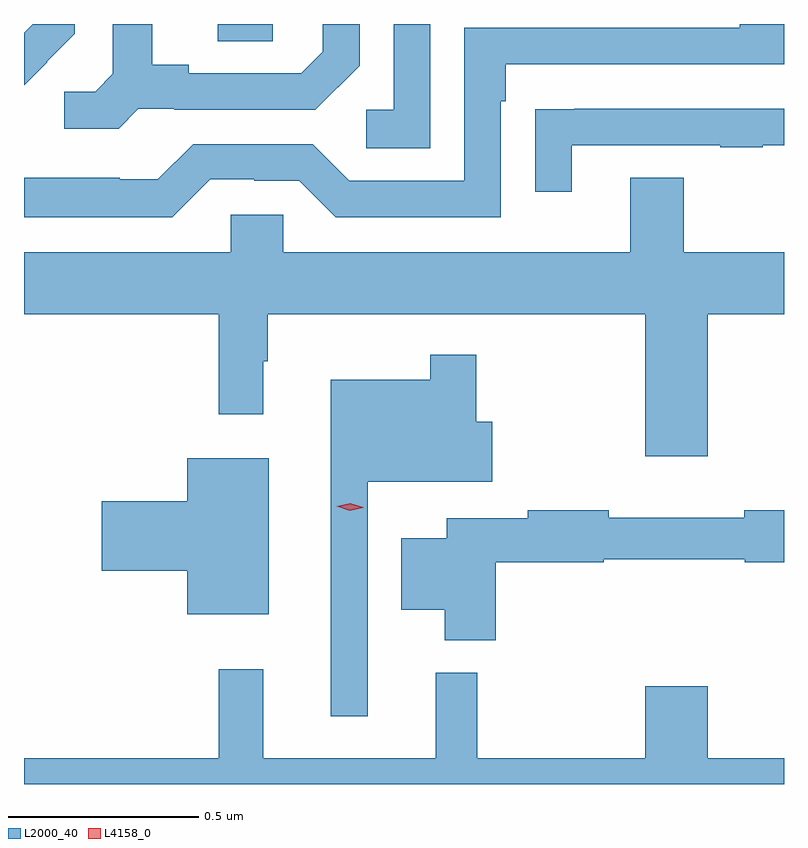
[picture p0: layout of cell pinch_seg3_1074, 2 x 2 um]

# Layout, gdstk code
import gdstk
lib = gdstk.Library(unit=1e-6, precision=1e-09)
def R(c, l, rs):  # rectangles x0, y0, x1, y1
    for r in rs: c.add(gdstk.rectangle(r[:2], r[2:], *l))
def P(c, l, *ps):  # polygons
    for p in ps: c.add(gdstk.Polygon(p, *l))
L2000_40 = (2000, 40)
L4158_0 = (4158, 0)

pinch_seg3_1074 = lib.new_cell('pinch_seg3_1074')
R(pinch_seg3_1074, L2000_40, [(343.703,717.619,343.848,717.664)])
P(pinch_seg3_1074, L2000_40, [(344.262,717.664),(344.166,717.664),(344.166,717.438),(344.094,717.438),(344.094,717.337),(344.262,717.337)],
  [(343.494,717.441),(343.588,717.441),(343.588,717.438),(343.96,717.438),(344.076,717.554),(344.076,717.664),(343.979,717.664),(343.979,717.591),(343.922,717.534),(343.627,717.534),(343.627,717.557),(343.531,717.557),(343.531,717.664),(343.427,717.664),(343.427,717.533),(343.38,717.486),(343.299,717.486),(343.299,717.389),(343.442,717.389)],
  [(343.254,717.564),(343.253,717.565),(343.326,717.638),(343.326,717.664),(343.216,717.664),(343.193,717.641),(343.193,717.503)],
  [(343.683,717.255),(343.799,717.255),(343.799,717.252),(343.917,717.252),(344.013,717.156),(344.448,717.156),(344.448,717.461),(344.461,717.461),(344.461,717.558),(345.193,717.558),(345.193,717.664),(345.077,717.664),(345.077,717.654),(344.352,717.654),(344.352,717.252),(344.049,717.252),(343.953,717.348),(343.638,717.348),(343.545,717.255),(343.445,717.255),(343.445,717.259),(343.193,717.259),(343.193,717.155),(343.583,717.155)],
  [(344.635,717.345),(345.025,717.345),(345.025,717.34),(345.137,717.34),(345.137,717.345),(345.193,717.345),(345.193,717.441),(344.641,717.441),(344.641,717.44),(344.539,717.44),(344.539,717.222),(344.635,717.222)],
  [(343.737,717.064),(343.193,717.064),(343.193,716.9),(343.705,716.9),(343.705,716.637),(343.822,716.637),(343.822,716.777),(343.834,716.777),(343.834,716.9),(344.828,716.9),(344.828,716.526),(344.992,716.526),(344.992,716.9),(345.193,716.9),(345.193,717.064),(344.929,717.064),(344.929,717.259),(344.789,717.259),(344.789,717.064),(343.875,717.064),(343.875,717.162),(343.737,717.162)],
  [(344.097,716.459),(344.425,716.459),(344.425,716.617),(344.383,716.617),(344.383,716.794),(344.262,716.794),(344.262,716.728),(344,716.728),(344,715.842),(344.097,715.842)],
  [(343.837,716.521),(343.622,716.521),(343.622,716.408),(343.398,716.408),(343.398,716.225),(343.622,716.225),(343.622,716.111),(343.837,716.111)],
  [(344.435,716.248),(344.718,716.248),(344.718,716.256),(345.09,716.256),(345.09,716.248),(345.193,716.248),(345.193,716.384),(345.088,716.384),(345.088,716.365),(344.732,716.365),(344.732,716.384),(344.518,716.384),(344.518,716.364),(344.306,716.364),(344.306,716.311),(344.186,716.311),(344.186,716.123),(344.3,716.123),(344.3,716.042),(344.435,716.042)],
  [(345.193,715.732),(344.992,715.732),(344.992,715.921),(344.828,715.921),(344.828,715.732),(344.386,715.732),(344.386,715.957),(344.276,715.957),(344.276,715.732),(343.823,715.732),(343.823,715.966),(343.705,715.966),(343.705,715.732),(343.193,715.732),(343.193,715.664),(345.193,715.664)])
P(pinch_seg3_1074, L4158_0, [(344.05,716.383),(344.016,716.395),(344.015,716.395),(344.016,716.395),(344.051,716.403),(344.086,716.392),(344.086,716.391),(344.086,716.391)])

lib.write_gds('pinch_seg3_1074.gds')
